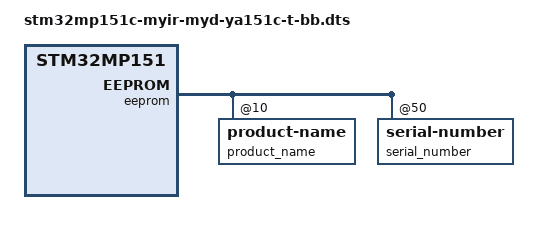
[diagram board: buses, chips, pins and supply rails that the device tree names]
// SPDX-License-Identifier: GPL-2.0-or-later
/* SPDX-FileCopyrightText: Alexander Shiyan, <shc_work@mail.ru> */

/dts-v1/;

#include "stm32mp151c-myir-myd-ya151c-t.dts"
#include "stm32mp151.dtsi"

/ {
	chosen {
		environment-emmc {
			compatible = "barebox,environment";
			device-path = &sdmmc2, "partname:env";
			status = "disabled";
		};

		environment-nand {
			compatible = "barebox,environment";
			device-path = &fmc, "partname:env";
			status = "disabled";
		};

		environment-sd {
			compatible = "barebox,environment";
			device-path = &sdmmc1, "partname:env";
			status = "disabled";
		};
	};

	product-info {
		nvmem-cells = <&product_name>;
		nvmem-cell-names = "product-name";
	};

	serial-info {
		nvmem-cells = <&serial_number>;
		nvmem-cell-names = "serial-number";
	};
};

&bsec {
	/delete-property/ barebox,provide-mac-address;
};

&eeprom {
	product_name: product-name@10 {
		reg = <0x10 64>;
		read-only;
	};

	serial_number: serial-number@50 {
		reg = <0x50 64>;
		read-only;
	};
};

#include "mm_stm32.dtsi"
